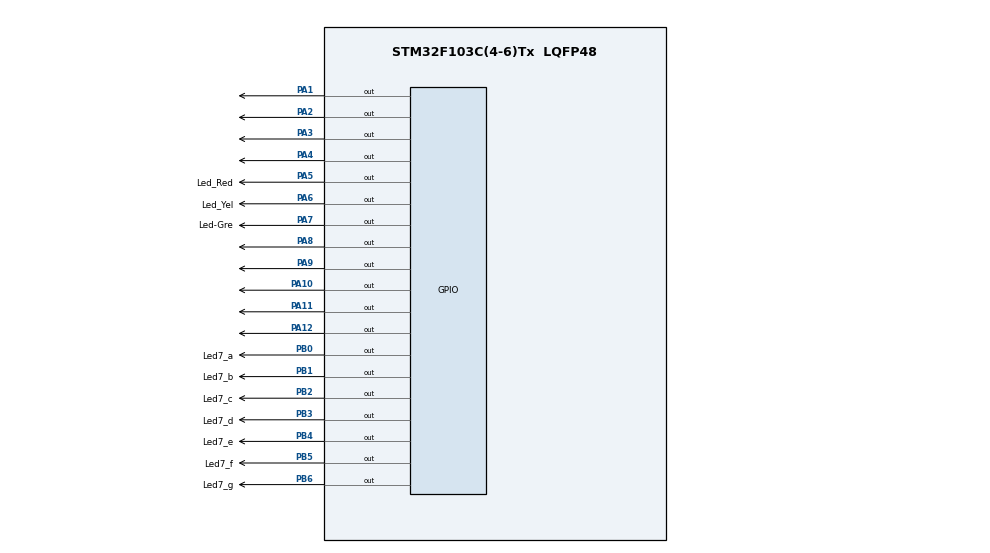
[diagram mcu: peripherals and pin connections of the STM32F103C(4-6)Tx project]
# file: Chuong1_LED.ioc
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Mcu.Family=STM32F1
Mcu.Name=STM32F103C(4-6)Tx
Mcu.Package=LQFP48
NVIC.PriorityGroup=NVIC_PRIORITYGROUP_4
PA1.Signal=GPIO_Output
PA10.Signal=GPIO_Output
PA11.Signal=GPIO_Output
PA12.Signal=GPIO_Output
PA2.Signal=GPIO_Output
PA3.Signal=GPIO_Output
PA4.Signal=GPIO_Output
PA5.GPIO_Label=Led_Red
PA5.Signal=GPIO_Output
PA6.GPIO_Label=Led_Yel
PA6.Signal=GPIO_Output
PA7.GPIO_Label=Led-Gre
PA7.Signal=GPIO_Output
PA8.Signal=GPIO_Output
PA9.Signal=GPIO_Output
PB0.GPIO_Label=Led7_a
PB0.Signal=GPIO_Output
PB1.GPIO_Label=Led7_b
PB1.Signal=GPIO_Output
PB2.GPIO_Label=Led7_c
PB2.Signal=GPIO_Output
PB3.GPIO_Label=Led7_d
PB3.Signal=GPIO_Output
PB4.GPIO_Label=Led7_e
PB4.Signal=GPIO_Output
PB5.GPIO_Label=Led7_f
PB5.Signal=GPIO_Output
PB6.GPIO_Label=Led7_g
PB6.Signal=GPIO_Output
ProjectManager.HeapSize=0x200
ProjectManager.StackSize=0x400
ProjectManager.TargetToolchain=STM32CubeIDE
RCC.APB1Freq_Value=8000000
RCC.APB2Freq_Value=8000000
VP_SYS_VS_ND.Mode=No_Debug
board=custom

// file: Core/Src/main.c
/* USER CODE BEGIN Header */
/**
  ******************************************************************************
  * @file           : main.c
  * @brief          : Main program body
  ******************************************************************************
  * @attention
  *
  * <h2><center>&copy; Copyright (c) 2021 STMicroelectronics.
  * All rights reserved.</center></h2>
  *
  * This software component is licensed by ST under BSD 3-Clause license,
  * the "License"; You may not use this file except in compliance with the
  * License. You may obtain a copy of the License at:
  *                        opensource.org/licenses/BSD-3-Clause
  *
  ******************************************************************************
  */
/* USER CODE END Header */
#include "main.h"

void SystemClock_Config(void);
static void MX_GPIO_Init(void);

int main(void)
{

  /* MCU Configuration--------------------------------------------------------*/

  /* Reset of all peripherals, Initializes the Flash interface and the Systick. */
  HAL_Init();

  /* Configure the system clock */
  SystemClock_Config();

  /* Initialize all configured peripherals */
  MX_GPIO_Init();
  /* USER CODE BEGIN 2 */
  void display7SEG (int num) {
	  // Set = Tat; Reset = Sang (giong LED)
	  switch (num) {
		case 0:
			HAL_GPIO_WritePin(Led7_g_GPIO_Port, Led7_g_Pin, GPIO_PIN_SET);
			HAL_GPIO_WritePin(Led7_a_GPIO_Port, Led7_a_Pin, GPIO_PIN_RESET);
			HAL_GPIO_WritePin(Led7_b_GPIO_Port, Led7_b_Pin, GPIO_PIN_RESET);
			HAL_GPIO_WritePin(Led7_c_GPIO_Port, Led7_c_Pin, GPIO_PIN_RESET);
			HAL_GPIO_WritePin(Led7_d_GPIO_Port, Led7_d_Pin, GPIO_PIN_RESET);
			HAL_GPIO_WritePin(Led7_e_GPIO_Port, Led7_e_Pin, GPIO_PIN_RESET);
			HAL_GPIO_WritePin(Led7_f_GPIO_Port, Led7_f_Pin, GPIO_PIN_RESET);
			break;
		case 1:
			HAL_GPIO_WritePin(Led7_a_GPIO_Port, Led7_a_Pin, GPIO_PIN_SET);
			HAL_GPIO_WritePin(Led7_f_GPIO_Port, Led7_f_Pin, GPIO_PIN_SET);
			HAL_GPIO_WritePin(Led7_e_GPIO_Port, Led7_e_Pin, GPIO_PIN_SET);
			HAL_GPIO_WritePin(Led7_d_GPIO_Port, Led7_d_Pin, GPIO_PIN_SET);
			HAL_GPIO_WritePin(Led7_g_GPIO_Port, Led7_g_Pin, GPIO_PIN_SET);
			HAL_GPIO_WritePin(Led7_b_GPIO_Port, Led7_b_Pin, GPIO_PIN_RESET);
			HAL_GPIO_WritePin(Led7_c_GPIO_Port, Led7_c_Pin, GPIO_PIN_RESET);
			break;
		case 2:
			HAL_GPIO_WritePin(Led7_f_GPIO_Port, Led7_f_Pin, GPIO_PIN_SET);
			HAL_GPIO_WritePin(Led7_c_GPIO_Port, Led7_c_Pin, GPIO_PIN_SET);
			HAL_GPIO_WritePin(Led7_a_GPIO_Port, Led7_a_Pin, GPIO_PIN_RESET);
			HAL_GPIO_WritePin(Led7_b_GPIO_Port, Led7_b_Pin, GPIO_PIN_RESET);
			HAL_GPIO_WritePin(Led7_g_GPIO_Port, Led7_g_Pin, GPIO_PIN_RESET);
			HAL_GPIO_WritePin(Led7_e_GPIO_Port, Led7_e_Pin, GPIO_PIN_RESET);
			HAL_GPIO_WritePin(Led7_d_GPIO_Port, Led7_d_Pin, GPIO_PIN_RESET);
			break;
		case 3:
			HAL_GPIO_WritePin(Led7_f_GPIO_Port, Led7_f_Pin, GPIO_PIN_SET);
			HAL_GPIO_WritePin(Led7_e_GPIO_Port, Led7_e_Pin, GPIO_PIN_SET);
			HAL_GPIO_WritePin(Led7_a_GPIO_Port, Led7_a_Pin, GPIO_PIN_RESET);
			HAL_GPIO_WritePin(Led7_b_GPIO_Port, Led7_b_Pin, GPIO_PIN_RESET);
			HAL_GPIO_WritePin(Led7_g_GPIO_Port, Led7_g_Pin, GPIO_PIN_RESET);
			HAL_GPIO_WritePin(Led7_c_GPIO_Port, Led7_c_Pin, GPIO_PIN_RESET);
			HAL_GPIO_WritePin(Led7_d_GPIO_Port, Led7_d_Pin, GPIO_PIN_RESET);
			break;
		case 4:
			HAL_GPIO_WritePin(Led7_a_GPIO_Port, Led7_a_Pin, GPIO_PIN_SET);
			HAL_GPIO_WritePin(Led7_e_GPIO_Port, Led7_e_Pin, GPIO_PIN_SET);
			HAL_GPIO_WritePin(Led7_d_GPIO_Port, Led7_d_Pin, GPIO_PIN_SET);
			HAL_GPIO_WritePin(Led7_f_GPIO_Port, Led7_f_Pin, GPIO_PIN_RESET);
			HAL_GPIO_WritePin(Led7_b_GPIO_Port, Led7_b_Pin, GPIO_PIN_RESET);
			HAL_GPIO_WritePin(Led7_g_GPIO_Port, Led7_g_Pin, GPIO_PIN_RESET);
			HAL_GPIO_WritePin(Led7_c_GPIO_Port, Led7_c_Pin, GPIO_PIN_RESET);
			break;
		case 5:
			HAL_GPIO_WritePin(Led7_b_GPIO_Port, Led7_b_Pin, GPIO_PIN_SET);
			HAL_GPIO_WritePin(Led7_e_GPIO_Port, Led7_e_Pin, GPIO_PIN_SET);
			HAL_GPIO_WritePin(Led7_a_GPIO_Port, Led7_a_Pin, GPIO_PIN_RESET);
			HAL_GPIO_WritePin(Led7_f_GPIO_Port, Led7_f_Pin, GPIO_PIN_RESET);
			HAL_GPIO_WritePin(Led7_g_GPIO_Port, Led7_g_Pin, GPIO_PIN_RESET);
			HAL_GPIO_WritePin(Led7_c_GPIO_Port, Led7_c_Pin, GPIO_PIN_RESET);
			HAL_GPIO_WritePin(Led7_d_GPIO_Port, Led7_d_Pin, GPIO_PIN_RESET);
			break;
		case 6:
			HAL_GPIO_WritePin(Led7_b_GPIO_Port, Led7_b_Pin, GPIO_PIN_SET);
			HAL_GPIO_WritePin(Led7_a_GPIO_Port, Led7_a_Pin, GPIO_PIN_RESET);
			HAL_GPIO_WritePin(Led7_f_GPIO_Port, Led7_f_Pin, GPIO_PIN_RESET);
			HAL_GPIO_WritePin(Led7_g_GPIO_Port, Led7_g_Pin, GPIO_PIN_RESET);
			HAL_GPIO_WritePin(Led7_e_GPIO_Port, Led7_e_Pin, GPIO_PIN_RESET);
			HAL_GPIO_WritePin(Led7_c_GPIO_Port, Led7_c_Pin, GPIO_PIN_RESET);
			HAL_GPIO_WritePin(Led7_d_GPIO_Port, Led7_d_Pin, GPIO_PIN_RESET);
			break;
		case 7:
			HAL_GPIO_WritePin(Led7_f_GPIO_Port, Led7_f_Pin, GPIO_PIN_SET);
			HAL_GPIO_WritePin(Led7_g_GPIO_Port, Led7_g_Pin, GPIO_PIN_SET);
			HAL_GPIO_WritePin(Led7_e_GPIO_Port, Led7_e_Pin, GPIO_PIN_SET);
			HAL_GPIO_WritePin(Led7_d_GPIO_Port, Led7_d_Pin, GPIO_PIN_SET);
			HAL_GPIO_WritePin(Led7_a_GPIO_Port, Led7_a_Pin, GPIO_PIN_RESET);
			HAL_GPIO_WritePin(Led7_b_GPIO_Port, Led7_b_Pin, GPIO_PIN_RESET);
			HAL_GPIO_WritePin(Led7_c_GPIO_Port, Led7_c_Pin, GPIO_PIN_RESET);
			break;
		case 8:
			HAL_GPIO_WritePin(Led7_a_GPIO_Port, Led7_a_Pin, GPIO_PIN_RESET);
			HAL_GPIO_WritePin(Led7_b_GPIO_Port, Led7_b_Pin, GPIO_PIN_RESET);
			HAL_GPIO_WritePin(Led7_c_GPIO_Port, Led7_c_Pin, GPIO_PIN_RESET);
			HAL_GPIO_WritePin(Led7_f_GPIO_Port, Led7_f_Pin, GPIO_PIN_RESET);
			HAL_GPIO_WritePin(Led7_g_GPIO_Port, Led7_g_Pin, GPIO_PIN_RESET);
			HAL_GPIO_WritePin(Led7_e_GPIO_Port, Led7_e_Pin, GPIO_PIN_RESET);
			HAL_GPIO_WritePin(Led7_d_GPIO_Port, Led7_d_Pin, GPIO_PIN_RESET);
			break;
		case 9:
			HAL_GPIO_WritePin(Led7_e_GPIO_Port, Led7_e_Pin, GPIO_PIN_SET);
			HAL_GPIO_WritePin(Led7_a_GPIO_Port, Led7_a_Pin, GPIO_PIN_RESET);
			HAL_GPIO_WritePin(Led7_b_GPIO_Port, Led7_b_Pin, GPIO_PIN_RESET);
			HAL_GPIO_WritePin(Led7_c_GPIO_Port, Led7_c_Pin, GPIO_PIN_RESET);
			HAL_GPIO_WritePin(Led7_f_GPIO_Port, Led7_f_Pin, GPIO_PIN_RESET);
			HAL_GPIO_WritePin(Led7_g_GPIO_Port, Led7_g_Pin, GPIO_PIN_RESET);
			HAL_GPIO_WritePin(Led7_d_GPIO_Port, Led7_d_Pin, GPIO_PIN_RESET);
			break;
		default:
			HAL_GPIO_WritePin(GPIOB, GPIO_PIN_All, GPIO_PIN_SET);
			break;
	}
  }

  void clearAllClock() {
	  HAL_GPIO_WritePin(GPIOA, GPIO_PIN_All, GPIO_PIN_SET);
  }

  /* USER CODE END 2 */

  /* Infinite loop */
  /* USER CODE BEGIN WHILE */
  unsigned int counter = 12;
  int bool_chay = 0;
  int mask = 0x1000;
  while (1)
  {
	  // For testing
	  /*
	  HAL_GPIO_TogglePin(Led_Red_GPIO_Port, Led_Red_Pin);
	  HAL_GPIO_TogglePin(Led_Yel_GPIO_Port, Led_Yel_Pin);
	  HAL_Delay(500);

	  if (counter <= 0) counter = 9;
	  else counter--;
	  display7SEG(counter);
	  HAL_Delay(500);
	  */

	  while (counter > 0) {
		  //HAL_GPIO_TogglePin(GPIOA, GPIO_PIN_0 << counter); // Bit Shift
		  HAL_GPIO_TogglePin(GPIOA, GPIO_PIN_12 & counter); // Bit Shift
		  counter--;
		  HAL_Delay(500);
	  }
	  if (counter <= 0) counter = 12;
    /* USER CODE END WHILE */

    /* USER CODE BEGIN 3 */
	  // For production
	  // Chu y: Reset moi sang vi dang dieu khien chan negative
	  /* */

	  // HAL_Delay(250);
  }
  /* USER CODE END 3 */
}

void SystemClock_Config(void)
{
  RCC_OscInitTypeDef RCC_OscInitStruct = {0};
  RCC_ClkInitTypeDef RCC_ClkInitStruct = {0};

  /** Initializes the RCC Oscillators according to the specified parameters
  * in the RCC_OscInitTypeDef structure.
  */
  RCC_OscInitStruct.OscillatorType = RCC_OSCILLATORTYPE_HSI;
  RCC_OscInitStruct.HSIState = RCC_HSI_ON;
  RCC_OscInitStruct.HSICalibrationValue = RCC_HSICALIBRATION_DEFAULT;
  RCC_OscInitStruct.PLL.PLLState = RCC_PLL_NONE;
  if (HAL_RCC_OscConfig(&RCC_OscInitStruct) != HAL_OK)
  {
    Error_Handler();
  }
  /** Initializes the CPU, AHB and APB buses clocks
  */
  RCC_ClkInitStruct.ClockType = RCC_CLOCKTYPE_HCLK|RCC_CLOCKTYPE_SYSCLK
                              |RCC_CLOCKTYPE_PCLK1|RCC_CLOCKTYPE_PCLK2;
  RCC_ClkInitStruct.SYSCLKSource = RCC_SYSCLKSOURCE_HSI;
  RCC_ClkInitStruct.AHBCLKDivider = RCC_SYSCLK_DIV1;
  RCC_ClkInitStruct.APB1CLKDivider = RCC_HCLK_DIV1;
  RCC_ClkInitStruct.APB2CLKDivider = RCC_HCLK_DIV1;

  if (HAL_RCC_ClockConfig(&RCC_ClkInitStruct, FLASH_LATENCY_0) != HAL_OK)
  {
    Error_Handler();
  }
}

static void MX_GPIO_Init(void)
{
  GPIO_InitTypeDef GPIO_InitStruct = {0};

  /* GPIO Ports Clock Enable */
  __HAL_RCC_GPIOA_CLK_ENABLE();
  __HAL_RCC_GPIOB_CLK_ENABLE();

  /*Configure GPIO pin Output Level */
  HAL_GPIO_WritePin(GPIOA, GPIO_PIN_1|GPIO_PIN_2|GPIO_PIN_3|GPIO_PIN_4
                          |Led_Red_Pin|Led_Yel_Pin|Led_Gre_Pin|GPIO_PIN_8
                          |GPIO_PIN_9|GPIO_PIN_10|GPIO_PIN_11|GPIO_PIN_12, GPIO_PIN_RESET);

  /*Configure GPIO pin Output Level */
  HAL_GPIO_WritePin(GPIOB, Led7_a_Pin|Led7_b_Pin|Led7_c_Pin|Led7_d_Pin
                          |Led7_e_Pin|Led7_f_Pin|Led7_g_Pin, GPIO_PIN_RESET);

  /*Configure GPIO pins : PA1 PA2 PA3 PA4
                           Led_Red_Pin Led_Yel_Pin Led_Gre_Pin PA8
                           PA9 PA10 PA11 PA12 */
  GPIO_InitStruct.Pin = GPIO_PIN_1|GPIO_PIN_2|GPIO_PIN_3|GPIO_PIN_4
                          |Led_Red_Pin|Led_Yel_Pin|Led_Gre_Pin|GPIO_PIN_8
                          |GPIO_PIN_9|GPIO_PIN_10|GPIO_PIN_11|GPIO_PIN_12;
  GPIO_InitStruct.Mode = GPIO_MODE_OUTPUT_PP;
  GPIO_InitStruct.Pull = GPIO_NOPULL;
  GPIO_InitStruct.Speed = GPIO_SPEED_FREQ_LOW;
  HAL_GPIO_Init(GPIOA, &GPIO_InitStruct);

  /*Configure GPIO pins : Led7_a_Pin Led7_b_Pin Led7_c_Pin Led7_d_Pin
                           Led7_e_Pin Led7_f_Pin Led7_g_Pin */
  GPIO_InitStruct.Pin = Led7_a_Pin|Led7_b_Pin|Led7_c_Pin|Led7_d_Pin
                          |Led7_e_Pin|Led7_f_Pin|Led7_g_Pin;
  GPIO_InitStruct.Mode = GPIO_MODE_OUTPUT_PP;
  GPIO_InitStruct.Pull = GPIO_NOPULL;
  GPIO_InitStruct.Speed = GPIO_SPEED_FREQ_LOW;
  HAL_GPIO_Init(GPIOB, &GPIO_InitStruct);

}

void Error_Handler(void)
{
  __disable_irq();
  while (1)
  {
  }
}

/************************ (C) COPYRIGHT STMicroelectronics *****END OF FILE****/
